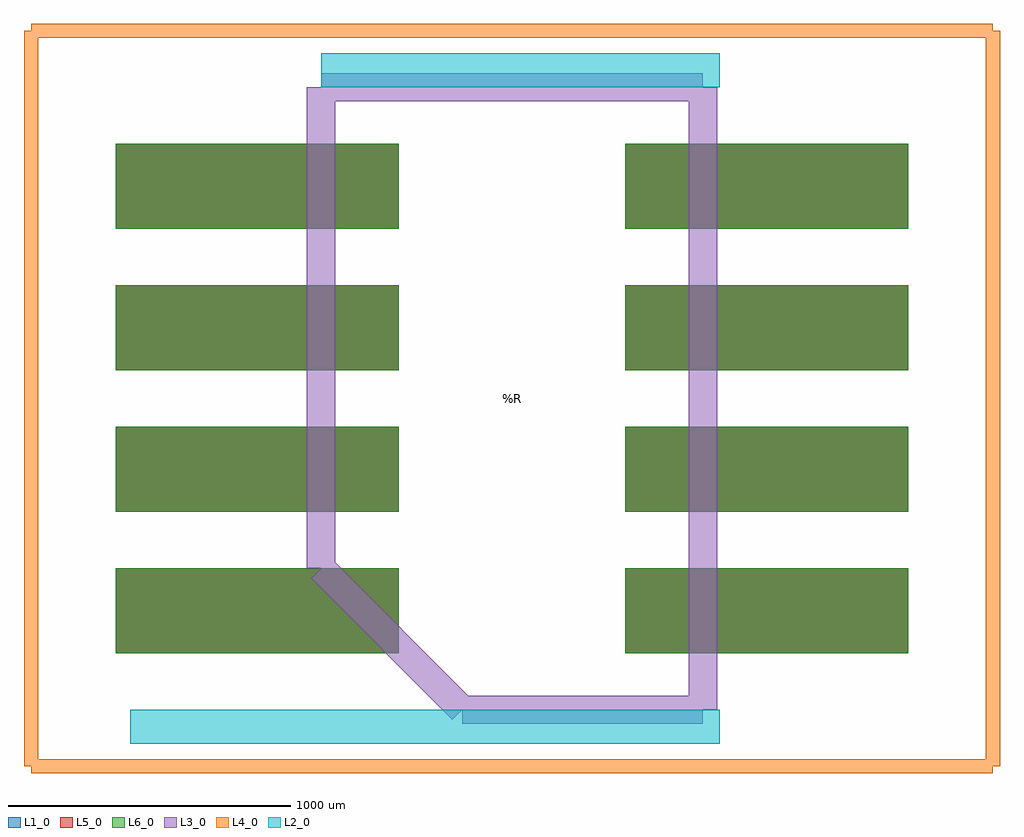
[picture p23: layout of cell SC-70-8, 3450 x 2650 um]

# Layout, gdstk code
import gdstk
lib = gdstk.Library(unit=1e-6, precision=1e-09)
def R(c, l, rs):  # rectangles x0, y0, x1, y1
    for r in rs: c.add(gdstk.rectangle(r[:2], r[2:], *l))
def A(c, l, x, y, w, h, nx, ny, dx, dy):  # array of equal rectangles
    R(c, l, [(x+i*dx, y+j*dy, x+i*dx+w, y+j*dy+h) for i in range(nx) for j in range(ny)])
L1_0 = (1, 0)
L2_0 = (2, 0)
L3_0 = (3, 0)
L4_0 = (4, 0)
L5_0 = (5, 0)
L6_0 = (6, 0)

sc_70_8 = lib.new_cell('SC-70-8')
A(sc_70_8, L1_0, -1400, -900, 1000, 300, 1, 4, 0, 500)
A(sc_70_8, L1_0, 400, -900, 1000, 300, 1, 4, 0, 500)
A(sc_70_8, L5_0, -1400, -900, 1000, 300, 1, 4, 0, 500)
A(sc_70_8, L5_0, 400, -900, 1000, 300, 1, 4, 0, 500)
A(sc_70_8, L6_0, -1400, -900, 1000, 300, 1, 4, 0, 500)
A(sc_70_8, L6_0, 400, -900, 1000, 300, 1, 4, 0, 500)
sc_70_8.add(gdstk.FlexPath([(1700,1300),(-1700,1300)], 50, ends="flush", simple_path=True, layer=4, datatype=0))  # L4_0
sc_70_8.add(gdstk.FlexPath([(1700,-1300),(1700,1300)], 50, ends="flush", simple_path=True, layer=4, datatype=0))  # L4_0
sc_70_8.add(gdstk.FlexPath([(-1700,-1300),(1700,-1300)], 50, ends="flush", simple_path=True, layer=4, datatype=0))  # L4_0
sc_70_8.add(gdstk.FlexPath([(-1700,1300),(-1700,-1300)], 50, ends="flush", simple_path=True, layer=4, datatype=0))  # L4_0
sc_70_8.add(gdstk.FlexPath([(735,-1160),(-1350,-1160)], 120, ends="flush", simple_path=True, layer=2, datatype=0))  # L2_0
sc_70_8.add(gdstk.FlexPath([(-675,1160),(735,1160)], 120, ends="flush", simple_path=True, layer=2, datatype=0))  # L2_0
sc_70_8.add(gdstk.FlexPath([(675,-1100),(-175,-1100)], 100, ends="flush", simple_path=True, layer=3, datatype=0))  # L3_0
sc_70_8.add(gdstk.FlexPath([(-675,-600),(-675,1100)], 100, ends="flush", simple_path=True, layer=3, datatype=0))  # L3_0
sc_70_8.add(gdstk.FlexPath([(675,-1100),(675,1100)], 100, ends="flush", simple_path=True, layer=3, datatype=0))  # L3_0
sc_70_8.add(gdstk.FlexPath([(675,1100),(-675,1100)], 100, ends="flush", simple_path=True, layer=3, datatype=0))  # L3_0
sc_70_8.add(gdstk.FlexPath([(-175,-1100),(-675,-600)], 100, ends="flush", simple_path=True, layer=3, datatype=0))  # L3_0
sc_70_8.add(gdstk.Label('REF**', (0,-1950), layer=2, texttype=0))
sc_70_8.add(gdstk.Label('SC-70-8', (0,2050), layer=3, texttype=0))
sc_70_8.add(gdstk.Label('%R', (0,0), layer=3, texttype=0))

lib.write_gds('SC-70-8.gds')
